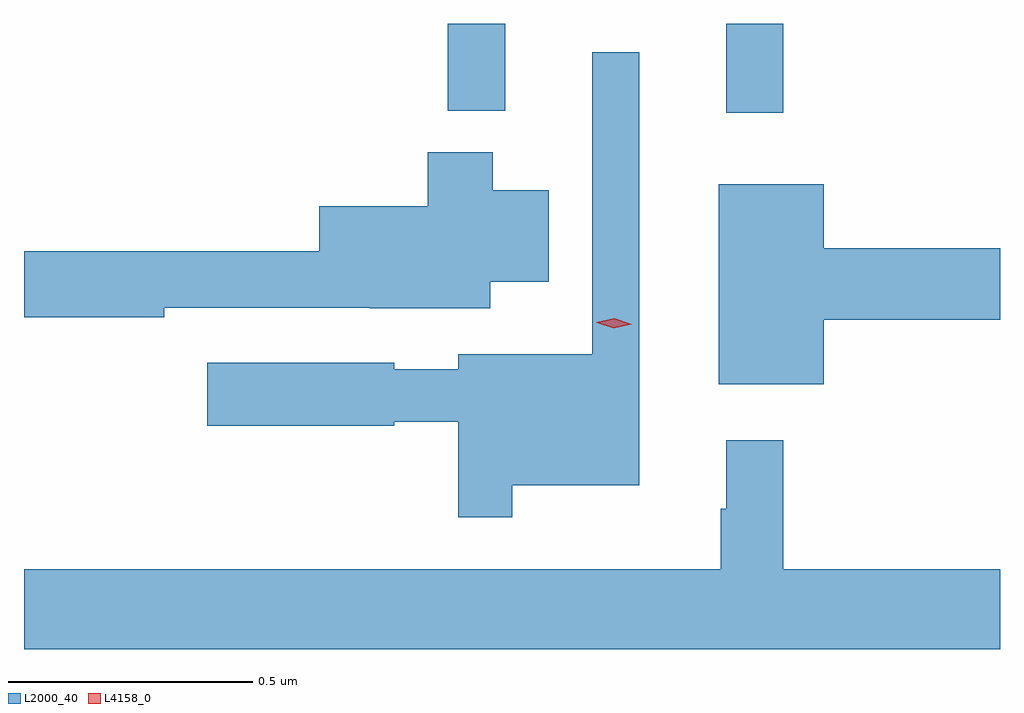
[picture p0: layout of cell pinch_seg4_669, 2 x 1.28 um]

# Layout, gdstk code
import gdstk
lib = gdstk.Library(unit=1e-6, precision=1e-09)
def R(c, l, rs):  # rectangles x0, y0, x1, y1
    for r in rs: c.add(gdstk.rectangle(r[:2], r[2:], *l))
def P(c, l, *ps):  # polygons
    for p in ps: c.add(gdstk.Polygon(p, *l))
L2000_40 = (2000, 40)
L4158_0 = (4158, 0)

pinch_seg4_669 = lib.new_cell('pinch_seg4_669')
R(pinch_seg4_669, L2000_40, [(1068.608,768.615,1068.725,768.798), (1068.037,768.62,1068.155,768.798)])
P(pinch_seg4_669, L2000_40, [(1068.169,767.852),(1068.43,767.852),(1068.43,768.739),(1068.333,768.739),(1068.333,768.121),(1068.059,768.121),(1068.059,768.09),(1067.928,768.09),(1067.928,768.103),(1067.544,768.103),(1067.544,767.974),(1067.928,767.974),(1067.928,767.982),(1068.059,767.982),(1068.059,767.787),(1068.169,767.787)],
  [(1067.456,768.216),(1067.878,768.216),(1067.878,768.215),(1068.124,768.215),(1068.124,768.269),(1068.244,768.269),(1068.244,768.457),(1068.13,768.457),(1068.13,768.535),(1067.996,768.535),(1067.996,768.424),(1067.774,768.424),(1067.774,768.332),(1067.169,768.332),(1067.169,768.196),(1067.456,768.196)],
  [(1068.808,768.191),(1069.169,768.191),(1069.169,768.338),(1068.808,768.338),(1068.808,768.469),(1068.593,768.469),(1068.593,768.059),(1068.808,768.059)],
  [(1069.169,767.68),(1068.725,767.68),(1068.725,767.944),(1068.608,767.944),(1068.608,767.804),(1068.597,767.804),(1068.597,767.68),(1067.169,767.68),(1067.169,767.516),(1069.169,767.516)])
P(pinch_seg4_669, L4158_0, [(1068.378,768.174),(1068.343,768.185),(1068.343,768.186),(1068.343,768.186),(1068.379,768.194),(1068.414,768.182),(1068.414,768.182),(1068.414,768.182)])

lib.write_gds('pinch_seg4_669.gds')
